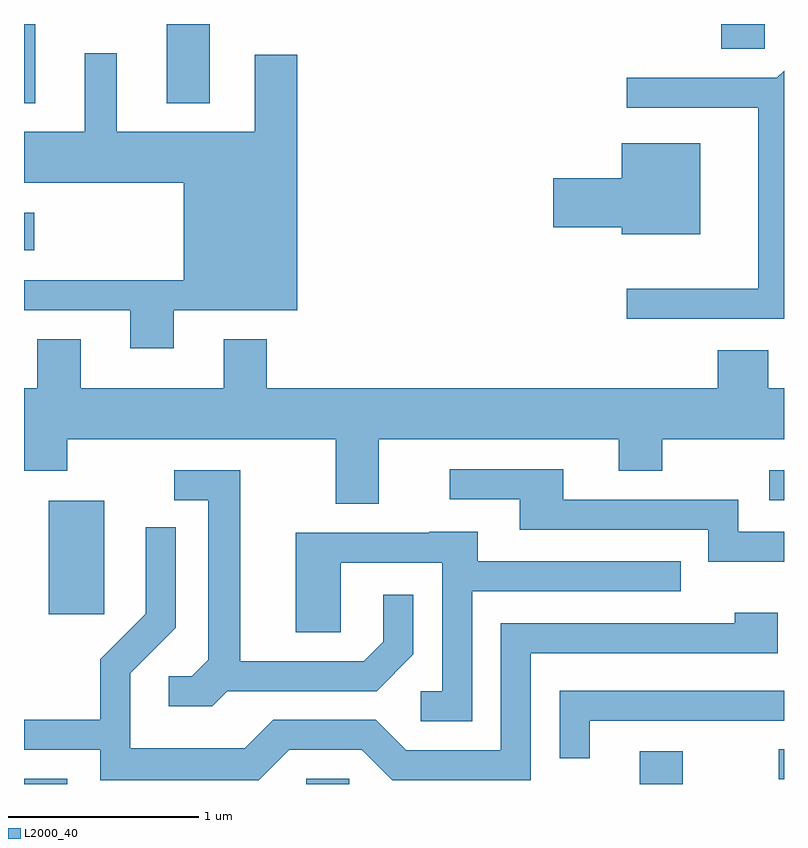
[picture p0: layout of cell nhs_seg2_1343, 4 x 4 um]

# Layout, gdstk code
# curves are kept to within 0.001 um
import gdstk
lib = gdstk.Library(unit=1e-6, precision=1e-09)
def R(c, l, rs):  # rectangles x0, y0, x1, y1
    for r in rs: c.add(gdstk.rectangle(r[:2], r[2:], *l))
def P(c, l, *ps):  # polygons
    for p in ps: c.add(gdstk.Polygon(p, *l))
L2000_40 = (2000, 40)

nhs_seg2_1343 = lib.new_cell('nhs_seg2_1343')
R(nhs_seg2_1343, L2000_40, [(223.611,1079.802,223.839,1079.829), (225.096,1079.802,225.324,1079.829), (226.851,1079.802,227.079,1079.974), (227.583,1079.826,227.611,1079.984), (223.741,1080.696,224.034,1081.294), (227.533,1081.296,227.611,1081.454), (223.611,1082.611,223.664,1082.809), (223.611,1083.386,223.669,1083.802), (224.361,1083.386,224.589,1083.802), (227.281,1083.671,227.509,1083.802)])
P(nhs_seg2_1343, L2000_40, [(224.399,1082.296),(225.049,1082.296),(225.049,1083.639),(224.826,1083.639),(224.826,1083.234),(224.099,1083.234),(224.099,1083.648),(223.931,1083.648),(223.931,1083.234),(223.611,1083.234),(223.611,1082.966),(224.451,1082.966),(224.451,1082.454),(223.611,1082.454),(223.611,1082.296),(224.171,1082.296),(224.171,1082.096),(224.399,1082.096)],
  [(227.611,1083.556),(227.574,1083.519),(226.783,1083.519),(226.783,1083.361),(227.476,1083.361),(227.476,1082.409),(226.783,1082.409),(226.783,1082.251),(227.611,1082.251)],
  [(227.169,1083.174),(226.756,1083.174),(226.756,1082.989),(226.396,1082.989),(226.396,1082.731),(226.756,1082.731),(226.756,1082.696),(227.169,1082.696)],
  [(225.479,1081.616),(226.741,1081.616),(226.741,1081.451),(226.969,1081.451),(226.969,1081.616),(227.611,1081.616),(227.611,1081.884),(227.529,1081.884),(227.529,1082.084),(227.261,1082.084),(227.261,1081.884),(224.889,1081.884),(224.889,1082.144),(224.661,1082.144),(224.661,1081.884),(223.909,1081.884),(223.909,1082.144),(223.681,1082.144),(223.681,1081.884),(223.611,1081.884),(223.611,1081.451),(223.839,1081.451),(223.839,1081.616),(225.251,1081.616),(225.251,1081.276),(225.479,1081.276)],
  [(227.611,1081.129),(227.369,1081.129),(227.369,1081.299),(226.449,1081.299),(226.449,1081.459),(225.853,1081.459),(225.853,1081.301),(226.221,1081.301),(226.221,1081.141),(227.211,1081.141),(227.211,1080.971),(227.611,1080.971)],
  [(224.682,1080.291),(225.467,1080.291),(225.659,1080.484),(225.659,1080.798),(225.501,1080.798),(225.501,1080.552),(225.399,1080.449),(224.749,1080.449),(224.749,1081.454),(224.403,1081.454),(224.403,1081.296),(224.581,1081.296),(224.581,1080.457),(224.494,1080.369),(224.373,1080.369),(224.373,1080.211),(224.602,1080.211)],
  [(225.007,1079.981),(225.389,1079.981),(225.549,1079.821),(226.279,1079.821),(226.279,1080.491),(227.579,1080.491),(227.579,1080.704),(227.351,1080.704),(227.351,1080.649),(226.121,1080.649),(226.121,1079.979),(225.622,1079.979),(225.462,1080.139),(224.924,1080.139),(224.774,1079.989),(224.169,1079.989),(224.169,1080.384),(224.409,1080.624),(224.409,1081.153),(224.251,1081.153),(224.251,1080.697),(224.011,1080.457),(224.011,1080.139),(223.611,1080.139),(223.611,1079.981),(224.011,1079.981),(224.011,1079.821),(224.847,1079.821)],
  [(225.969,1080.816),(227.068,1080.816),(227.068,1080.974),(225.999,1080.974),(225.999,1081.129),(225.745,1081.129),(225.745,1081.124),(225.041,1081.124),(225.041,1080.601),(225.279,1080.601),(225.279,1080.966),(225.811,1080.966),(225.811,1080.289),(225.698,1080.289),(225.698,1080.131),(225.969,1080.131)],
  [(226.589,1080.136),(227.611,1080.136),(227.611,1080.294),(226.431,1080.294),(226.431,1079.938),(226.589,1079.938)])

lib.write_gds('nhs_seg2_1343.gds')
